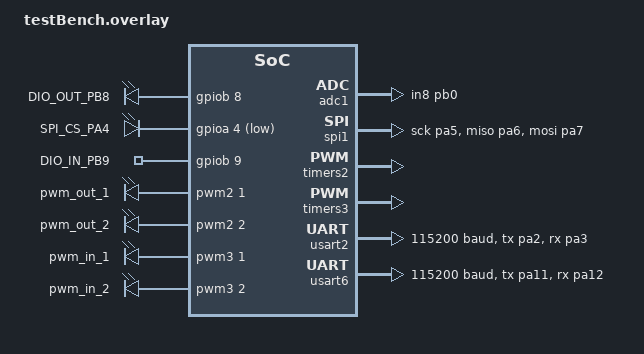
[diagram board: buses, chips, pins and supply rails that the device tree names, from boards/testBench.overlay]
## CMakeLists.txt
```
cmake_minimum_required(VERSION 3.20.0)

find_package(Zephyr REQUIRED HINTS $ENV{ZEPHYR_BASE})

project(TestBench)

target_include_directories(app PRIVATE include)

target_sources(app PRIVATE
    src/main.c
    src/testbench_dio.c
    src/testbench_adc.c
    src/testbench_spi.c
    src/testbench_pwmOUT.c
    src/testbench_pwmIN.c
    src/testbench_uart.c
)
```

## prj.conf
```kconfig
CONFIG_GPIO=y
CONFIG_ADC=y
CONFIG_SPI=y
CONFIG_PWM=y

# (Optional) Change the shell prompt from "uart:~$" to something custom
CONFIG_SHELL_PROMPT_UART="blackpill:~$ "

# Configure PWM Capture for Pwm IN
CONFIG_PWM_CAPTURE=y
CONFIG_REQUIRES_FLOAT_PRINTF=y

CONFIG_SHELL=y
CONFIG_SHELL_BACKEND_SERIAL=y
CONFIG_SERIAL=y
CONFIG_UART_CONSOLE=y
CONFIG_UART_INTERRUPT_DRIVEN=y
CONFIG_RING_BUFFER=y

CONFIG_LOG=y
CONFIG_PRINTK=y
```

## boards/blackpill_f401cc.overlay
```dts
#include <zephyr/dt-bindings/gpio/gpio.h>  /* Include GPIO flag definitions */

/ {                                         /* Start the root devicetree node */

    aliases {                              /* Start the aliases section */
        dio-out = &dio_out_pin;            /* Create alias dio-out that points to PB0 output node */
        dio-in = &dio_in_pin;              /* Create alias dio-in that points to PB1 input node */
    };                                     /* End the aliases section */

    dio_outputs {                          /* Create a container node for output GPIO pins */
        compatible = "gpio-leds";          /* Use Zephyr gpio-leds binding for GPIO output-like nodes */

        dio_out_pin: dio_out_pin {         /* Create the DIO output node label */
            gpios = <&gpiob 0 GPIO_ACTIVE_HIGH>; /* Select PB0 as active-high GPIO output */
            label = "DIO_OUT_PB0";         /* Add a readable name for the output pin */
        };                                 /* End the DIO output node */
    };                                     /* End the output GPIO container */

    dio_inputs {                           /* Create a container node for input GPIO pins */
        compatible = "gpio-keys";          /* Use Zephyr gpio-keys binding for GPIO input-like nodes */

        dio_in_pin: dio_in_pin {           /* Create the DIO input node label */
            gpios = <&gpiob 1 (GPIO_ACTIVE_HIGH | GPIO_PULL_DOWN)>; /* Select PB1 as input with pull-down */
            label = "DIO_IN_PB1";          /* Add a readable name for the input pin */
        };                                 /* End the DIO input node */
    };                                     /* End the input GPIO container */
};                                         /* End the root devicetree node */


&adc1 {                         /* Select ADC1 peripheral node */
    status = "okay";            /* Enable ADC1 peripheral */
};
```

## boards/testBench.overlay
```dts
#include <zephyr/dt-bindings/gpio/gpio.h>

/ {
aliases {
dio-out = &dio_out_pin;
dio-in = &dio_in_pin;
spi-cs = &spi_cs_pin;
};


dio_outputs {
    compatible = "gpio-leds";

    dio_out_pin: dio_out_pin {
        gpios = <&gpiob 8 GPIO_ACTIVE_HIGH>;
        label = "DIO_OUT_PB8";
    };

    spi_cs_pin: spi_cs_pin {
        gpios = <&gpioa 4 GPIO_ACTIVE_LOW>;
        label = "SPI_CS_PA4";
    };
};

dio_inputs {
    compatible = "gpio-keys";

    dio_in_pin: dio_in_pin {
        gpios = <&gpiob 9 (GPIO_ACTIVE_HIGH | GPIO_PULL_DOWN)>;
        label = "DIO_IN_PB9";
    };
};


};

&adc1 {
status = "okay";
pinctrl-0 = <&adc1_in8_pb0>;
pinctrl-names = "default";
};

&spi1 {
status = "okay";
pinctrl-0 = <&spi1_sck_pa5 &spi1_miso_pa6 &spi1_mosi_pa7>;
pinctrl-names = "default";
};
/*
 * This is the Overlay file used in Test Bench Project
 *
 * Authors:   Mustafa Mahgoub (mustafamahgoub.2025@gmail.com)
 *            Ayman Ali
*/

/*
 * ==========================================
 * HARDWARE CONFIGURATION
 * ==========================================
 */

/*
 * ==========================================
 * PWM Configuration
 * ==========================================
 */

/*
 * For PWM Out, the Test Bench supports PA0 (Channel 1) and PA1 (Channel 2).
 * Both of these pins are driven by Hardware Timer 2.
 */

&timers2 {
	status = "okay";

	pwm2: pwm {
		status = "okay";
		pinctrl-0 = <&tim2_ch1_pa0 &tim2_ch2_pa1>;
		pinctrl-names = "default";
	};
};


/*
 * For PWM In, the Test Bench supports PB4 (Channel 1) and PB5 (Channel 2).
 * Both of these pins are driven by Hardware Timer 3.
 */


&timers3 {
	status = "okay";
	st,prescaler = <83>; // (Divides 84MHz by 84 = 1MHz clock)

	pwm3: pwm {
		status = "okay";
		pinctrl-0 = <&tim3_ch1_pb4 &tim3_ch2_pb5>;
		pinctrl-names = "default";
	};
};


/*
 * ==========================================
 * UART Configuration
 * ==========================================
 */


/*
 * For UART, The Test Bench provides Uart Features features on
 * 2 UART Channels -> UART_CH1 (UART2 PA2(Tx) PA3(Rx)) and (UART_CH2 UART6 PA11(Tx) PA12(Rx))
 */
&usart2 {
	pinctrl-0 = <&usart2_tx_pa2 &usart2_rx_pa3>;
	pinctrl-names = "default";
	status = "okay";
	current-speed = <115200>;
};
&usart6 {
	pinctrl-0 = <&usart6_tx_pa11 &usart6_rx_pa12>;
	pinctrl-names = "default";
	status = "okay";
	current-speed = <115200>;
};


/*
 * ==========================================
 * SOFTWARE BINDINGS
 * ==========================================
 */

/ {
	/*
	 * Define custom nodes for the Test Bench.
	 * This links the physical hardware (pwm2) to a logical test channel.
	 */
	test_bench_pwms {
		compatible = "pwm-leds";

		pwm_out_1: pwm_out_1 {
			/* <&hardware_node   channel   default_period   flags> */
			pwms = <&pwm2 1 0 PWM_POLARITY_NORMAL>;
		};

		pwm_out_2: pwm_out_2 {
			pwms = <&pwm2 2 0 PWM_POLARITY_NORMAL>;
		};

		pwm_in_1: pwm_in_1 {
            /* Use pwm3, Channel 1 */
            pwms = <&pwm3 1 0 PWM_POLARITY_NORMAL>;
        };

		pwm_in_2: pwm_in_2 {
            /* Use pwm3, Channel 1 */
            pwms = <&pwm3 2 0 PWM_POLARITY_NORMAL>;
        };
	};

	/*
	 * Create aliases so the C code can easily find these nodes
	 * using DT_ALIAS(pwmout1)
	 */
	aliases {
		pwmout1 = &pwm_out_1;
		pwmout2 = &pwm_out_2;
		pwmin1 = &pwm_in_1;
		pwmin2 = &pwm_in_2;
		uart-ch1 = &usart2;
		uart-ch2 = &usart6;
	};
};
```

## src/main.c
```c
#include <zephyr/kernel.h>              /* Include Zephyr kernel APIs */
#include <zephyr/sys/printk.h>          /* Include printk for startup messages */
#include <zephyr/shell/shell.h>         /* Include Zephyr shell APIs */

#include "testbench_dio.h"              /* Include DIO module interface */
#include "testbench_adc.h"              /* Include ADC module interface */
#include "testbench_spi.h"              /* Include SPI module interface */
#include "testbench_uart.h"             /* Include UART module interface */


/**
 * @brief Handle the tb_ping shell command.
 *
 * This command is used to verify UART communication between the host and the board.
 *
 * @param sh Shell instance used to print responses.
 * @param argc Number of command arguments.
 * @param argv Command arguments.
 *
 * @return 0 on success.
 */
static int cmd_tb_ping(const struct shell *sh, size_t argc, char **argv)
{
    ARG_UNUSED(argc);                   /* Mark argc as unused to avoid compiler warning */
    ARG_UNUSED(argv);                   /* Mark argv as unused to avoid compiler warning */

    shell_print(sh, "PONG");           /* Print PONG as the shell response */

    return 0;                           /* Return success */
}


/* Register tb_ping shell command */
SHELL_CMD_REGISTER(tb_ping, NULL, "Test Bench ping command", cmd_tb_ping);


/**
 * @brief Main application entry point.
 *
 * This function initializes all enabled Test Bench modules.
 *
 * @return 0 on success, negative error code on failure.
 */
int main(void)
{

    testBench_uart_Init();

    int ret = testBench_dio_Init();     /* Initialize DIO module */

    if (ret < 0) {                      /* Check if DIO initialization failed */
        printk("DIO initialization failed: %d\n", ret); /* Print DIO initialization error */
        return ret;                     /* Stop application with error code */
    }

    ret = testBench_adc_Init();         /* Initialize ADC module */

    if (ret < 0) {                      /* Check if ADC initialization failed */
        printk("ADC initialization failed: %d\n", ret); /* Print ADC initialization error */
        return ret;                     /* Stop application with error code */
    }

    ret = testBench_spi_Init();

    if (ret < 0) {
        printk("SPI initialization failed: %d\n", ret);
        return ret;
    }

    printk("Test Bench Firmware Started\n"); /* Print firmware startup message */

    return 0;                           /* Return success */
}
```

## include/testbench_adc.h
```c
#ifndef TESTBENCH_ADC_H
#define TESTBENCH_ADC_H

int testBench_adc_Init(void);

#endif
```

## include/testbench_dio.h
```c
#ifndef TESTBENCH_DIO_H
#define TESTBENCH_DIO_H

int testBench_dio_Init(void);

#endif
```

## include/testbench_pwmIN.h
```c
#ifndef TEST_BENCH_PWM_IN_HEADER
#define TEST_BENCH_PWM_IN_HEADER

#include <zephyr/kernel.h>
#include <zephyr/shell/shell.h>

/* 
 * The Test Bench provides pwm input features on PB4 and PB5 (timer3 Ch1,Ch2)
 * 
 * 
 * This Driver provide the following APIs
 * pwm_in get_dutyCycle channel_number
 * Describtion 
 *  this Command calculate PWM duty Cycle for the Channel_num 
 * Example
 *  pwm_in get_dutyCycle 1       (gets channel 1 dutyCycle Value)
 * 
 * pwm_in get_frequency channel_number  
 * Description
 *  this Command calculate PWM Frequency for the Channel_num
 * Example
 *  pwm_in get_frequency 1 (gets channel 1 dutyCycle Value)
 * 
 * pwm_in read channel_number
 * Description
 *  this Command read both the frequency and dutyCycle for Channel_number
 * 
*/

// argv[1] is channel
int cmd_pwm_in_get_dutyCycle(const struct shell *sh, size_t argc, char **argv);

// argv[1] is channel
int cmd_pwm_in_get_frequency(const struct shell *sh, size_t argc, char** argv);

// argv[1] is channel
int cmd_pwm_in_read(const struct shell *sh, size_t argc, char** argv);


#endif
```

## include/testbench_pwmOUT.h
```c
#ifndef TEST_BENCH_PWM_OUT_HEADER
#define TEST_BENCH_PWM_OUT_HEADER

#include <zephyr/kernel.h>
#include <zephyr/shell/shell.h>
/* 
 * The Test Bench provides pwm output features on PA0 and PA1 (timer2 Ch1,Ch2)
 * 
 * 
 * This Driver provide the following APIs
 * pwm_out set channel_number dutyCycle%
 * Describtion 
 *  this Command generate PWM signal for the Channel_num of dutyCycle% with default frequency 1000 Hz
 * Example
 *  pwm set 1 50       (Sets channel 1 to 50% duty at default freq)
 * 
 * pwm_out freq channel_number frequency_Value dutyCycle% 
 * Description
 *  this Command generate PWM Signal for the Channel_num of dutyCycle% and frequency of frequency_Value
 * Example
 *  pwm freq 1 1000 25 (Sets channel 1 to 1kHz at 25% duty)
 * 
 * pwm_out stop channel_number
 * Description
 *  this Command stop the PWM Signal for the Channel_number (dutyCycle = 0)
 * 
*/

// argv[1] is channel, argv[2] is duty cycle
int cmd_pwm_out_set(const struct shell *sh, size_t argc, char **argv);

// argv[1] is channel, argv[2] is frequency, argv[3] is duty cycle
int cmd_pwm_out_freq(const struct shell *sh, size_t argc, char** argv);

// argv[1] is channel
int cmd_pwm_stop(const struct shell *sh, size_t argc, char** argv);


#endif
```

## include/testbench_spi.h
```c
#ifndef TESTBENCH_SPI_H
#define TESTBENCH_SPI_H

/**
 * @brief Initialize SPI module.
 *
 * This function checks if SPI1 is ready.
 *
 * Hardware pins:
 * - PA5 -> SPI1_SCK
 * - PA6 -> SPI1_MISO
 * - PA7 -> SPI1_MOSI
 *
 * Loopback connection:
 * - PA7 / MOSI ---- PA6 / MISO
 *
 * @return 0 on success, negative error code on failure.
 */
int testBench_spi_Init(void);

#endif
```

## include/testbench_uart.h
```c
#ifndef TEST_BENCH_UART_HEADER
#define TEST_BENCH_UART_HEADER

#include <zephyr/kernel.h>
#include <zephyr/shell/shell.h>
/* 
 * The Test Bench provides Uart Features features on 2 UART Channels -> UART2 PA2(Tx) PA3(Rx) and UART6 PA11(Tx) PA12(Rx)
 * 
 * 
 * This Driver provide the following APIs
 * uart read <channel>
 * Describtion 
 *  This Command Reads whatever the ECU has replied with since the last time you checked.
 * Example
 *  uart read 1 -> Returns: "ENGINE_RUNNING_OK"
 * 
 * uart send <channel> <message>  
 * Description
 *  This Command Transmits a string over the TX pin to the ECU.
 * Example
 *  uart send 1 "START_ENGINE"
 * 
 * uart clear <channel>
 * Description
 *  This Command Flushes the receive buffer to clear out any old/garbage data left in the buffer from previous tests. 
 * Example
 *  uart clear 1
 * 
 * uart set_baud <channel> <baudrate>
 * Description
 *  This Command Changes the speed of the UART connection dynamically. This allows your Test Bench to talk to a 9600 baud sensor
 *  and a 115200 baud ECU without needing to recompile the firmware!
 * Example
 *  uart set_baud 1 9600
 * 
*/


// argv[1] is uart channel , argv[2] is the string to be sent.
int cmd_uart_send(const struct shell *sh, size_t argc, char **argv);

// argv[1] is uart channel to read from.
int cmd_uart_read(const struct shell *sh, size_t argc, char **argv);

// argv[1] is uart channel to clear its buffer
int cmd_uart_clear(const struct shell *sh, size_t argc, char **argv);

// argv[1] is uart channel, argv[2] is BaudRate Number
int cmd_uart_set_baud(const struct shell *sh, size_t argc, char **argv);

int testBench_uart_Init();

#endif
```

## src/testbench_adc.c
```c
#include <zephyr/kernel.h>              /* Include Zephyr kernel APIs */
#include <zephyr/device.h>              /* Include Zephyr device model APIs */
#include <zephyr/drivers/adc.h>         /* Include Zephyr ADC driver APIs */
#include <zephyr/shell/shell.h>         /* Include Zephyr shell APIs */
#include <zephyr/sys/util.h>            /* Include BIT macro */
#include <errno.h>                      /* Include standard error codes */

#include "testbench_adc.h"              /* Include ADC module interface */


/* Get ADC1 node from devicetree */
#define ADC_NODE DT_NODELABEL(adc1)

/* Select ADC channel 8, mapped to PB0 / ADC1_IN8 */
#define ADC_CHANNEL_ID 8

/* Use 12-bit ADC resolution */
#define ADC_RESOLUTION 12

/* Use 3300 mV as the ADC reference voltage */
#define ADC_VREF_MV 3300


/* Get ADC device from devicetree */
static const struct device *adc_dev = DEVICE_DT_GET(ADC_NODE);


/* Create ADC channel configuration */
static const struct adc_channel_cfg adc_channel_cfg = {
    .gain = ADC_GAIN_1,                 /* Use gain 1, so input voltage is not scaled */
    .reference = ADC_REF_INTERNAL,      /* Use internal ADC reference configuration */
    .acquisition_time = ADC_ACQ_TIME_DEFAULT, /* Use default acquisition time */
    .channel_id = ADC_CHANNEL_ID,       /* Select ADC channel */
    .differential = 0                   /* Use single-ended mode */
};


/**
 * @brief Initialize ADC module.
 *
 * This function checks if ADC1 is ready and configures the selected ADC channel.
 *
 * Current hardware connection:
 * - Potentiometer side pin   -> 3V3
 * - Potentiometer middle pin -> PB0 / ADC1_IN8
 * - Potentiometer side pin   -> GND
 *
 * @return 0 on success, negative error code on failure.
 */
int testBench_adc_Init(void)
{
    if (!device_is_ready(adc_dev)) {    /* Check if ADC device is ready */
        return -ENODEV;                 /* Return error if ADC device is not ready */
    }

    int ret = adc_channel_setup(adc_dev, &adc_channel_cfg); /* Configure ADC channel */

    if (ret < 0) {                      /* Check if ADC channel setup failed */
        return ret;                     /* Return ADC driver error */
    }

    return 0;                           /* Return success */
}


/**
 * @brief Handle tb_adc_read shell command.
 *
 * Command format:
 * tb_adc_read
 *
 * Response format:
 * ADC_READ RAW <raw_value> MV <millivolts>
 *
 * @param sh Shell instance used to print responses.
 * @param argc Number of command arguments.
 * @param argv Command arguments.
 *
 * @return 0 on success, negative error code on failure.
 */
static int cmd_tb_adc_read(const struct shell *sh, size_t argc, char **argv)
{
    ARG_UNUSED(argc);                   /* Mark argc as unused to avoid compiler warning */
    ARG_UNUSED(argv);                   /* Mark argv as unused to avoid compiler warning */

    int16_t sample = 0;                 /* Create variable to store raw ADC sample */

    struct adc_sequence sequence = {    /* Create ADC read sequence */
        .channels = BIT(ADC_CHANNEL_ID), /* Select ADC channel */
        .buffer = &sample,              /* Store ADC result in sample variable */
        .buffer_size = sizeof(sample),  /* Set ADC buffer size */
        .resolution = ADC_RESOLUTION    /* Set ADC resolution */
    };

    int ret = adc_read(adc_dev, &sequence); /* Read one ADC sample */

    if (ret < 0) {                      /* Check if ADC read failed */
        shell_error(sh, "ADC_READ ERROR %d", ret); /* Print ADC read error */
        return ret;                     /* Return ADC driver error */
    }

    int32_t raw = sample;               /* Convert ADC sample to 32-bit integer */

    int32_t millivolts = (raw * ADC_VREF_MV) / ((1 << ADC_RESOLUTION) - 1); /* Convert raw value to millivolts */

    shell_print(sh, "ADC_READ RAW %d MV %d", raw, millivolts); /* Print ADC result */

    return 0;                           /* Return success */
}


/* Register ADC shell command */
SHELL_CMD_REGISTER(tb_adc_read, NULL, "Read ADC potentiometer value", cmd_tb_adc_read);
```

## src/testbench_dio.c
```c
#include <zephyr/kernel.h>              /* Include Zephyr kernel APIs such as k_sleep */
#include <zephyr/device.h>              /* Include Zephyr device model APIs */
#include <zephyr/drivers/gpio.h>        /* Include Zephyr GPIO driver APIs */
#include <zephyr/shell/shell.h>         /* Include Zephyr shell APIs */
#include <errno.h>                      /* Include standard error codes */
#include <stdlib.h>                     /* Include strtol for string to number conversion */

#include "testbench_dio.h"              /* Include DIO module interface */


/* Get the devicetree alias for the DIO output pin */
#define DIO_OUT_NODE DT_ALIAS(dio_out)

/* Get the devicetree alias for the DIO input pin */
#define DIO_IN_NODE  DT_ALIAS(dio_in)


/* Create GPIO specification for the DIO output pin */
static const struct gpio_dt_spec dio_out = GPIO_DT_SPEC_GET(DIO_OUT_NODE, gpios);

/* Create GPIO specification for the DIO input pin */
static const struct gpio_dt_spec dio_in = GPIO_DT_SPEC_GET(DIO_IN_NODE, gpios);


/**
 * @brief Initialize DIO pins.
 *
 * This function configures:
 * - DIO output pin as output and starts it LOW
 * - DIO input pin as input
 *
 * Expected hardware connection:
 * DIO output pin ---- DIO input pin
 *
 * @return 0 on success, negative error code on failure.
 */
int testBench_dio_Init(void)
{
    if (!gpio_is_ready_dt(&dio_out)) {  /* Check if output GPIO port is ready */
        return -ENODEV;                 /* Return error if output GPIO port is not ready */
    }

    if (!gpio_is_ready_dt(&dio_in)) {   /* Check if input GPIO port is ready */
        return -ENODEV;                 /* Return error if input GPIO port is not ready */
    }

    int ret = gpio_pin_configure_dt(&dio_out, GPIO_OUTPUT_INACTIVE); /* Configure output pin and set it LOW */

    if (ret < 0) {                      /* Check if output configuration failed */
        return ret;                     /* Return GPIO driver error */
    }

    ret = gpio_pin_configure_dt(&dio_in, GPIO_INPUT); /* Configure input pin */

    if (ret < 0) {                      /* Check if input configuration failed */
        return ret;                     /* Return GPIO driver error */
    }

    return 0;                           /* Return success */
}


/**
 * @brief Handle tb_dio_write shell command.
 *
 * Command format:
 * tb_dio_write <0|1>
 *
 * @param sh Shell instance used to print responses.
 * @param argc Number of command arguments.
 * @param argv Command arguments.
 *
 * @return 0 on success, negative error code on failure.
 */
static int cmd_tb_dio_write(const struct shell *sh, size_t argc, char **argv)
{
    if (argc != 2) {                    /* Check that exactly one argument is provided */
        shell_error(sh, "Usage: tb_dio_write <0|1>"); /* Print command usage */
        return -EINVAL;                 /* Return invalid argument error */
    }

    long value = strtol(argv[1], NULL, 10); /* Convert input argument from string to number */

    if ((value != 0) && (value != 1)) { /* Check that value is only 0 or 1 */
        shell_error(sh, "Error: value must be 0 or 1"); /* Print invalid value error */
        return -EINVAL;                 /* Return invalid argument error */
    }

    int ret = gpio_pin_set_dt(&dio_out, (int)value); /* Set DIO output pin */

    if (ret < 0) {                      /* Check if GPIO write failed */
        shell_error(sh, "Error: failed to write DIO output"); /* Print write error */
        return ret;                     /* Return GPIO driver error */
    }

    shell_print(sh, "DIO_WRITE OK VALUE %ld", value); /* Print successful write response */

    return 0;                           /* Return success */
}


/**
 * @brief Handle tb_dio_read shell command.
 *
 * Command format:
 * tb_dio_read
 *
 * @param sh Shell instance used to print responses.
 * @param argc Number of command arguments.
 * @param argv Command arguments.
 *
 * @return 0 on success, negative error code on failure.
 */
static int cmd_tb_dio_read(const struct shell *sh, size_t argc, char **argv)
{
    ARG_UNUSED(argc);                   /* Mark argc as unused to avoid compiler warning */
    ARG_UNUSED(argv);                   /* Mark argv as unused to avoid compiler warning */

    int value = gpio_pin_get_dt(&dio_in); /* Read DIO input pin */

    if (value < 0) {                    /* Check if GPIO read failed */
        shell_error(sh, "Error: failed to read DIO input"); /* Print read error */
        return value;                   /* Return GPIO driver error */
    }

    shell_print(sh, "DIO_READ VALUE %d", value); /* Print input pin value */

    return 0;                           /* Return success */
}


/**
 * @brief Initialize DIO pins.
 *
 * This function configures:
 * - PB8 as DIO output and starts it LOW
 * - PB9 as DIO input
 *
 * Expected hardware connection:
 * PB8 ---- PB9
 *
 * @return 0 on success, negative error code on failure.
 */
static int cmd_tb_dio_test(const struct shell *sh, size_t argc, char **argv)
{
    ARG_UNUSED(argc);                   /* Mark argc as unused to avoid compiler warning */
    ARG_UNUSED(argv);                   /* Mark argv as unused to avoid compiler warning */

    int ret = gpio_pin_set_dt(&dio_out, 1); /* Set DIO output HIGH */

    if (ret < 0) {                      /* Check if setting output HIGH failed */
        shell_error(sh, "Error: failed to set output HIGH"); /* Print HIGH write error */
        return ret;                     /* Return GPIO driver error */
    }

    k_sleep(K_MSEC(10));                /* Wait for input signal to stabilize */

    int high_value = gpio_pin_get_dt(&dio_in); /* Read input after setting output HIGH */

    if (high_value < 0) {               /* Check if HIGH read failed */
        shell_error(sh, "Error: failed to read input after HIGH"); /* Print HIGH read error */
        return high_value;              /* Return GPIO driver error */
    }

    ret = gpio_pin_set_dt(&dio_out, 0); /* Set DIO output LOW */

    if (ret < 0) {                      /* Check if setting output LOW failed */
        shell_error(sh, "Error: failed to set output LOW"); /* Print LOW write error */
        return ret;                     /* Return GPIO driver error */
    }

    k_sleep(K_MSEC(10));                /* Wait for input signal to stabilize */

    int low_value = gpio_pin_get_dt(&dio_in); /* Read input after setting output LOW */

    if (low_value < 0) {                /* Check if LOW read failed */
        shell_error(sh, "Error: failed to read input after LOW"); /* Print LOW read error */
        return low_value;               /* Return GPIO driver error */
    }

    if ((high_value == 1) && (low_value == 0)) { /* Check if loopback result is correct */
        shell_print(sh, "DIO_TEST PASS HIGH %d LOW %d", high_value, low_value); /* Print PASS result */
        return 0;                       /* Return success */
    }

    shell_error(sh, "DIO_TEST FAIL HIGH %d LOW %d", high_value, low_value); /* Print FAIL result */

    return -EIO;                        /* Return input/output error */
}


/* Register DIO shell commands */
SHELL_CMD_REGISTER(tb_dio_write, NULL, "Write DIO output pin", cmd_tb_dio_write);
SHELL_CMD_REGISTER(tb_dio_read, NULL, "Read DIO input pin", cmd_tb_dio_read);
SHELL_CMD_REGISTER(tb_dio_test, NULL, "Run DIO loopback test", cmd_tb_dio_test);
```

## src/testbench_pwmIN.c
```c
#include <zephyr/shell/shell.h>
#include "testbench_pwmIN.h"
#include <zephyr/drivers/pwm.h>
#include <zephyr/kernel.h>
#include <stdlib.h>
#include <stdint.h>

#define PWM_CHANNEL1 1
#define PWM_CHANNEL2 2

#define SUCCESS 0
#define INVALID_CHANNEL 1
#define DEVICE_NOT_READY 2
#define ERROR_CAPTURING 3
#define ERROR_BUSY 4

static const struct pwm_dt_spec pwm_ch1 = PWM_DT_SPEC_GET(DT_ALIAS(pwmin1));
static const struct pwm_dt_spec pwm_ch2 = PWM_DT_SPEC_GET(DT_ALIAS(pwmin2));

/*
 * The Test Bench provides pwm input features on PB4 and PB5 (timer3 Ch1,Ch2)
 *
 *
 * This Driver provide the following APIs
 * pwm_in get_dutyCycle channel_number
 * Describtion
 *  this Command calculate PWM duty Cycle for the Channel_num
 * Example
 *  pwm_in get_dutyCycle 1       (gets channel 1 dutyCycle Value)
 *
 * pwm_in get_frequency channel_number
 * Description
 *  this Command calculate PWM Frequency for the Channel_num
 * Example
 *  pwm_in get_frequency 1 (gets channel 1 dutyCycle Value)
 *
 * pwm_in read channel_number
 * Description
 *  this Command read both the frequency and dutyCycle for Channel_number
 *
 */

int cmd_pwm_in_read(const struct shell *sh, size_t argc, char **argv)
{
    // arguments validation
    uint8_t pwmChannel = (uint8_t)atoi(argv[1]);
    uint64_t period_us;
    uint64_t pulse_us;

    float dutyCycle = 0;
    uint32_t freq = 0;

    int ret;

    switch (pwmChannel)
    {
    case PWM_CHANNEL1:
        if (!device_is_ready(pwm_ch1.dev))
        {
            shell_print(sh, "ERR Device Not Ready\n");
            return -DEVICE_NOT_READY;
        }

        // Calculate DutyCycle and Frequency
        // pwm_capture_usec (const struct device *dev, uint32_t channel, pwm_flags_t flags, uint64_t *period, uint64_t *pulse, k_timeout_t timeout)

        /* Flags Infos

        PWM capture configuration flags

        #define 	PWM_CAPTURE_TYPE_PERIOD   (1U << PWM_CAPTURE_TYPE_SHIFT)
            PWM pin capture captures period.
        #define 	PWM_CAPTURE_TYPE_PULSE   (2U << PWM_CAPTURE_TYPE_SHIFT)
            PWM pin capture captures pulse width.
        #define 	PWM_CAPTURE_TYPE_BOTH
            PWM pin capture captures both period and pulse width.
        #define 	PWM_CAPTURE_MODE_SINGLE   (0U << PWM_CAPTURE_MODE_SHIFT)
            PWM pin capture captures a single period/pulse width.
        #define 	PWM_CAPTURE_MODE_CONTINUOUS   (1U << PWM_CAPTURE_MODE_SHIFT)
            PWM pin capture captures period/pulse width continuously.
*/
        ret = pwm_capture_usec(pwm_ch1.dev, pwm_ch1.channel, (PWM_CAPTURE_TYPE_BOTH | PWM_CAPTURE_MODE_SINGLE),
                               &period_us, &pulse_us, Z_TIMEOUT_MS(500));

        if (ret == -EBUSY)
        {
            shell_print(sh, "ERR Channel Is Busy\n");
            pwm_disable_capture(pwm_ch1.dev, pwm_ch1.channel);
            return -ERROR_BUSY;
        }

        if (ret)
        {
            shell_print(sh, "ERR Capturing Failed (%d)\n", ret);
            return -ERROR_CAPTURING;
        }


        break;
    case PWM_CHANNEL2:
        if (!device_is_ready(pwm_ch2.dev))
        {
            shell_print(sh, "ERR Device Not Ready\n");
            return -DEVICE_NOT_READY;
        }

        ret = pwm_capture_usec(pwm_ch2.dev, pwm_ch2.channel, (PWM_CAPTURE_TYPE_BOTH | PWM_CAPTURE_MODE_SINGLE),
                               &period_us, &pulse_us, Z_TIMEOUT_MS(500));

        if (ret == -EBUSY)
        {
            shell_print(sh, "ERR Channel Is Busy\n");
            pwm_disable_capture(pwm_ch2.dev, pwm_ch2.channel);
            return -ERROR_BUSY;
        }

        if (ret)
        {
            shell_print(sh, "ERR Capturing Failed (%d)\n", ret);
            return -ERROR_CAPTURING;
        }


        break;

    default:
        shell_print(sh, "Invalid PWM Channel\n Available Channels are 1 and 2");
        return -INVALID_CHANNEL;
        break;
    }

    freq = (uint32_t)(1000000 / period_us);
    dutyCycle = (float)(((double)pulse_us / period_us) * 100);

    shell_print(sh, "Freq: %u Hz, Duty: %.2f", freq, dutyCycle);
    return SUCCESS; // Success
}


int cmd_pwm_in_get_frequency(const struct shell *sh, size_t argc, char** argv)
{
    // arguments validation
    uint8_t pwmChannel = (uint8_t)atoi(argv[1]);
    uint64_t period_us;
    uint64_t pulse_us;

    uint32_t freq = 0;

    int ret;

    switch (pwmChannel)
    {
    case PWM_CHANNEL1:
        if (!device_is_ready(pwm_ch1.dev))
        {
            shell_print(sh, "ERR Device Not Ready\n");
            return -DEVICE_NOT_READY;
        }


        // Calculate DutyCycle and Frequency
        // pwm_capture_usec (const struct device *dev, uint32_t channel, pwm_flags_t flags, uint64_t *period, uint64_t *pulse, k_timeout_t timeout)

        /* Flags Infos

        PWM capture configuration flags

        #define 	PWM_CAPTURE_TYPE_PERIOD   (1U << PWM_CAPTURE_TYPE_SHIFT)
            PWM pin capture captures period.
        #define 	PWM_CAPTURE_TYPE_PULSE   (2U << PWM_CAPTURE_TYPE_SHIFT)
            PWM pin capture captures pulse width.
        #define 	PWM_CAPTURE_TYPE_BOTH
            PWM pin capture captures both period and pulse width.
        #define 	PWM_CAPTURE_MODE_SINGLE   (0U << PWM_CAPTURE_MODE_SHIFT)
            PWM pin capture captures a single period/pulse width.
        #define 	PWM_CAPTURE_MODE_CONTINUOUS   (1U << PWM_CAPTURE_MODE_SHIFT)
            PWM pin capture captures period/pulse width continuously.
*/
        ret = pwm_capture_usec(pwm_ch1.dev, pwm_ch1.channel, (PWM_CAPTURE_TYPE_PERIOD | PWM_CAPTURE_MODE_SINGLE),
                               &period_us, &pulse_us, Z_TIMEOUT_MS(500));

        if (ret == -EBUSY)
        {
            shell_print(sh, "ERR Channel Is Busy\n");
            pwm_disable_capture(pwm_ch1.dev, pwm_ch1.channel);
            return -ERROR_BUSY;
        }

        if (ret)
        {
            shell_print(sh, "ERR Capturing Failed (%d)\n", ret);
            return -ERROR_CAPTURING;
        }


        break;
    case PWM_CHANNEL2:
        if (!device_is_ready(pwm_ch2.dev))
        {
            shell_print(sh, "ERR Device Not Ready\n");
            return -DEVICE_NOT_READY;
        }

        ret = pwm_capture_usec(pwm_ch2.dev, pwm_ch2.channel, (PWM_CAPTURE_TYPE_PERIOD | PWM_CAPTURE_MODE_SINGLE),
                               &period_us, &pulse_us, Z_TIMEOUT_MS(500));

        if (ret == -EBUSY)
        {
            shell_print(sh, "ERR Channel Is Busy\n");
            pwm_disable_capture(pwm_ch2.dev, pwm_ch2.channel);
            return -ERROR_BUSY;
        }

        if (ret)
        {
            shell_print(sh, "ERR Capturing Failed (%d)\n", ret);
            return -ERROR_CAPTURING;
        }


        break;

    default:
        shell_print(sh, "Invalid PWM Channel\n Available Channels are 1 and 2");
        return -INVALID_CHANNEL;
        break;
    }

    freq = (uint32_t)(1000000 / period_us);

    shell_print(sh, "Freq: %u Hz", freq);
    return SUCCESS; // Success
}

int cmd_pwm_in_get_dutyCycle(const struct shell *sh, size_t argc, char **argv)
{
    // arguments validation
    uint8_t pwmChannel = (uint8_t)atoi(argv[1]);
    uint64_t period_us;
    uint64_t pulse_us;

    float dutyCycle = 0;

    int ret;

    switch (pwmChannel)
    {
    case PWM_CHANNEL1:
        if (!device_is_ready(pwm_ch1.dev))
        {
            shell_print(sh, "ERR Device Not Ready\n");
            return -DEVICE_NOT_READY;
        }


        // Calculate DutyCycle and Frequency
        // pwm_capture_usec (const struct device *dev, uint32_t channel, pwm_flags_t flags, uint64_t *period, uint64_t *pulse, k_timeout_t timeout)

        /* Flags Infos

        PWM capture configuration flags

        #define 	PWM_CAPTURE_TYPE_PERIOD   (1U << PWM_CAPTURE_TYPE_SHIFT)
            PWM pin capture captures period.
        #define 	PWM_CAPTURE_TYPE_PULSE   (2U << PWM_CAPTURE_TYPE_SHIFT)
            PWM pin capture captures pulse width.
        #define 	PWM_CAPTURE_TYPE_BOTH
            PWM pin capture captures both period and pulse width.
        #define 	PWM_CAPTURE_MODE_SINGLE   (0U << PWM_CAPTURE_MODE_SHIFT)
            PWM pin capture captures a single period/pulse width.
        #define 	PWM_CAPTURE_MODE_CONTINUOUS   (1U << PWM_CAPTURE_MODE_SHIFT)
            PWM pin capture captures period/pulse width continuously.
*/
        ret = pwm_capture_usec(pwm_ch1.dev, pwm_ch1.channel, (PWM_CAPTURE_TYPE_BOTH | PWM_CAPTURE_MODE_SINGLE),
                               &period_us, &pulse_us, Z_TIMEOUT_MS(500));

        if (ret == -EBUSY)
        {
            shell_print(sh, "ERR Channel Is Busy\n");
            pwm_disable_capture(pwm_ch1.dev, pwm_ch1.channel);
            return -ERROR_BUSY;
        }

        if (ret)
        {
            shell_print(sh, "ERR Capturing Failed (%d)\n", ret);
            return -ERROR_CAPTURING;
        }


        break;
    case PWM_CHANNEL2:
        if (!device_is_ready(pwm_ch2.dev))
        {
            shell_print(sh, "ERR Device Not Ready\n");
            return -DEVICE_NOT_READY;
        }

        ret = pwm_capture_usec(pwm_ch2.dev, pwm_ch2.channel, (PWM_CAPTURE_TYPE_BOTH | PWM_CAPTURE_MODE_SINGLE),
                               &period_us, &pulse_us, Z_TIMEOUT_MS(500));

        if (ret == -EBUSY)
        {
            shell_print(sh, "ERR Channel Is Busy\n");
            pwm_disable_capture(pwm_ch2.dev, pwm_ch2.channel);
            return -ERROR_BUSY;
        }

        if (ret)
        {
            shell_print(sh, "ERR Capturing Failed (%d)\n", ret);
            return -ERROR_CAPTURING;
        }


        break;

    default:
        shell_print(sh, "Invalid PWM Channel\n Available Channels are 1 and 2");
        return -INVALID_CHANNEL;
        break;
    }

    dutyCycle = (float)(((double)pulse_us / period_us) * 100);

    shell_print(sh, "Duty: %.2f", dutyCycle);
    return SUCCESS; // Success
}

/*
 * Create The Subcommands
 *
 *
 */

SHELL_STATIC_SUBCMD_SET_CREATE(
    pwm_in_subcmds,
    SHELL_CMD_ARG(read, NULL, "this Command read both the frequency and dutyCycle for Channel_number",
              cmd_pwm_in_read, 2, 0),

    SHELL_CMD_ARG(get_dutyCycle, NULL, "this Command calculate PWM duty Cycle for the Channel_num",
              cmd_pwm_in_get_dutyCycle, 2, 0),

    SHELL_CMD_ARG(get_frequency, NULL, "this Command calculate PWM Frequency for the Channel_num",
              cmd_pwm_in_get_frequency, 2, 0),
    SHELL_SUBCMD_SET_END
);

SHELL_CMD_REGISTER(pwm_in, &pwm_in_subcmds, "PWM Capture Input Commands", NULL);
```

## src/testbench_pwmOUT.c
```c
#include <zephyr/shell/shell.h>
#include "testbench_pwmOUT.h"
#include <zephyr/drivers/pwm.h>
#include <zephyr/kernel.h>
#include <stdlib.h>
#include <stdint.h>

/*
 * The Test Bench provides pwm output features on PA0 and PA1 (timer2 Ch1,Ch2)
 *
 *
 * This Driver provide the following APIs
 * pwm_out set channel_number dutyCycle%
 * Describtion
 *  this Command generate PWM signal for the Channel_num of dutyCycle% with default frequency 1000 Hz
 * Example
 *  pwm_out set 1 50       (Sets channel 1 to 50% duty at default freq)
 *
 * pwm_out freq channel_number frequency_Value dutyCycle%
 * Description
 *  this Command generate PWM Signal for the Channel_num of dutyCycle% and frequency of frequency_Value
 * Example
 *  pwm_out freq 1 1000 25 (Sets channel 1 to 1kHz at 25% duty)
 *
 * pwm_out stop channel_number
 * Description
 *  this Command stop the PWM Signal for the Channel_number (dutyCycle = 0)
 *
*/


#define MIN_FREQUENCY 1
#define MAX_FREQUENCY 1000000ul
#define DEFAULT_FREQUENCY 1000 // 1000 Hz

#define PWM_CHANNEL1 1
#define PWM_CHANNEL2 2

#define SUCCESS 0
#define INVALID_CHANNEL 1
#define INVALID_DUTYCYCLE 2
#define INVALID_FREQUENCY 3
#define DEVICE_NOT_READY 4




static const struct pwm_dt_spec pwm_ch1 = PWM_DT_SPEC_GET(DT_ALIAS(pwmout1));
static const struct pwm_dt_spec pwm_ch2 = PWM_DT_SPEC_GET(DT_ALIAS(pwmout2));

// Commands implementations
// argv[1] is channel, argv[2] is duty cycle
int cmd_pwm_out_set(const struct shell *sh, size_t argc, char **argv)
{
    // arguments validation
    uint8_t pwmChannel = (uint8_t)atoi(argv[1]);

    char *endptr;
    float dutyCycle = (float)strtof(argv[2], &endptr);
    if (dutyCycle < 0 || dutyCycle > 100)
    {
        shell_print(sh, "Invalid Duty Cycle\n available DutyCycle 0~100");
        return -INVALID_DUTYCYCLE;
    }

    uint32_t period_ns = 1000000000ull / DEFAULT_FREQUENCY;
    uint32_t pulse_ns = (uint32_t)((dutyCycle / 100.0f) * period_ns);

    switch (pwmChannel)
    {
    case PWM_CHANNEL1:
        if (!pwm_is_ready_dt(&pwm_ch1)) {
            shell_print(sh, "ERR Device Not Ready\n");
			return -DEVICE_NOT_READY;
		}

        // pwm_set_dt (const struct pwm_dt_spec *spec, uint32_t period, uint32_t pulse)
        pwm_set_dt(&pwm_ch1,period_ns,pulse_ns);
        break;
    case PWM_CHANNEL2:
        if (!pwm_is_ready_dt(&pwm_ch2)) {
            shell_print(sh, "ERR Device Not Ready\n");
			return -DEVICE_NOT_READY;
		}
        pwm_set_dt(&pwm_ch2,period_ns,pulse_ns);
        break;
    default:
        shell_print(sh, "Invalid PWM Channel\n Available Channels are 1 and 2");
        return -INVALID_CHANNEL;
        break;
    }

    return SUCCESS; // Success
}

// argv[1] is channel, argv[2] is frequency, argv[3] is duty cycle
int cmd_pwm_out_freq(const struct shell *sh, size_t argc, char** argv)
{
    // arguments validation
    uint8_t pwmChannel = (uint8_t)atoi(argv[1]);

    uint32_t freq = (uint32_t)atoi(argv[2]);
    if (freq < MIN_FREQUENCY || freq > MAX_FREQUENCY)
    {
        shell_print(sh, "Invalid Frequency\n available Frequency 1~1MHz");
        return -INVALID_FREQUENCY;
    }

    char *endptr;
    float dutyCycle = (float)strtof(argv[3], &endptr);
    if (dutyCycle < 0 || dutyCycle > 100)
    {
        shell_print(sh, "Invalid Duty Cycle\n available DutyCycle 0~100");
        return -INVALID_DUTYCYCLE;
    }

    uint32_t period_ns = 1000000000ull / freq;
    uint32_t pulse_ns = (uint32_t)((dutyCycle / 100.0f) * period_ns);

    switch (pwmChannel)
    {
    case PWM_CHANNEL1:
        if (!pwm_is_ready_dt(&pwm_ch1)) {
            shell_print(sh, "ERR Device Not Ready\n");
			return -DEVICE_NOT_READY;
		}

        // pwm_set_dt (const struct pwm_dt_spec *spec, uint32_t period, uint32_t pulse)
        pwm_set_dt(&pwm_ch1,period_ns,pulse_ns);
        break;
    case PWM_CHANNEL2:
        if (!pwm_is_ready_dt(&pwm_ch2)) {
            shell_print(sh, "ERR Device Not Ready\n");
			return -DEVICE_NOT_READY;
		}
        pwm_set_dt(&pwm_ch2,period_ns,pulse_ns);
        break;
    default:
        shell_print(sh, "Invalid PWM Channel\n Available Channels are 1 and 2");
        return -INVALID_CHANNEL;
        break;
    }

    return SUCCESS; // Success
}

int cmd_pwm_stop(const struct shell *sh, size_t argc, char** argv)
{
    // arguments validation
    uint8_t pwmChannel = (uint8_t)atoi(argv[1]);
    
    // To stop the PWM, we just set the pulse (duty cycle) to 0. 
    // The period doesn't matter, we'll just use the default.
    uint32_t period_ns = 1000000000ull / DEFAULT_FREQUENCY;
    uint32_t pulse_ns = 0;

    switch (pwmChannel)
    {
    case PWM_CHANNEL1:
        if (!pwm_is_ready_dt(&pwm_ch1)) {
            shell_print(sh, "ERR Device Not Ready\n");
			return -DEVICE_NOT_READY;
		}

        // pwm_set_dt (const struct pwm_dt_spec *spec, uint32_t period, uint32_t pulse)
        pwm_set_dt(&pwm_ch1,period_ns,pulse_ns);
        break;
    case PWM_CHANNEL2:
        if (!pwm_is_ready_dt(&pwm_ch2)) {
            shell_print(sh, "ERR Device Not Ready\n");
			return -DEVICE_NOT_READY;
		}
        pwm_set_dt(&pwm_ch2,period_ns,pulse_ns);
        break;
    default:
        shell_print(sh, "Invalid PWM Channel\n Available Channels are 1 and 2");
        return -INVALID_CHANNEL;
        break;
    }

    return SUCCESS; // Success
}


/*
 * Create The Subcommands
 *
 *
 */

SHELL_STATIC_SUBCMD_SET_CREATE(
    pwm_out_subcmds,
    SHELL_CMD_ARG(set, NULL, "this Command generate PWM signal for the Channel_num of dutyCycle% with default frequency 1000 Hz",
              cmd_pwm_out_set, 3, 0),

    SHELL_CMD_ARG(freq, NULL, "this Command generate PWM Signal for the Channel_num of dutyCycle% and frequency of frequency_Value",
              cmd_pwm_out_freq, 4, 0),

    SHELL_CMD_ARG(stop, NULL, "this Command stop the PWM Signal for the Channel_number (dutyCycle = 0)",
              cmd_pwm_stop, 2, 0),
    SHELL_SUBCMD_SET_END
);

SHELL_CMD_REGISTER(pwm_out, &pwm_out_subcmds, "PWM Output Commands", NULL);
```

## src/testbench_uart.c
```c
#include "testbench_uart.h"
#include <zephyr/drivers/uart.h>
#include <zephyr/kernel.h>
#include <zephyr/shell/shell.h>
#include <zephyr/sys/ring_buffer.h>
#include <stdlib.h>
#include <stdint.h>
#include <string.h>

#define UART_CHANNEL1 1
#define UART_CHANNEL2 2

#define SUCCESS 0
#define INVALID_CHANNEL 1
#define DEVICE_NOT_READY 2

// Get Device using Alias configured in the overlay
static const struct device *const uart_ch1 = DEVICE_DT_GET(DT_ALIAS(uart_ch1));
static const struct device *const uart_ch2 = DEVICE_DT_GET(DT_ALIAS(uart_ch2));

// Declare Ring Buffers 2 for each Channel
#define RING_BUF_SIZE 256

RING_BUF_DECLARE(uart_ch1_rx_ringbuf, RING_BUF_SIZE);
RING_BUF_DECLARE(uart_ch1_tx_ringbuf, RING_BUF_SIZE);

RING_BUF_DECLARE(uart_ch2_rx_ringbuf, RING_BUF_SIZE);
RING_BUF_DECLARE(uart_ch2_tx_ringbuf, RING_BUF_SIZE);

// Define CallBack Function for each Channel ISR
static void uart_ch1_cb(const struct device *dev, void *user_data)
{
    uint8_t c;
    // 1. Always update the IRQ status first
    if (!uart_irq_update(dev))
    {
        return;
    }

    if (uart_irq_rx_ready(dev))
    {
        // static int 	uart_fifo_read (const struct device *dev, uint8_t *rx_data, const int size)
        while (uart_fifo_read(dev, &c, 1) == 1)
        {
            ring_buf_put(&uart_ch1_rx_ringbuf, &c, 1);
        }
    }

    if (uart_irq_tx_ready(dev))
    {
        uint8_t c;
        // The hardware FIFO on STM32 is only 1 byte deep!
        // We must pull exactly 1 byte at a time so we don't lose data.
        if (ring_buf_get(&uart_ch1_tx_ringbuf, &c, 1) > 0)
        {
            // Push 1 byte to the hardware
            uart_fifo_fill(dev, &c, 1);
        }
        else
        {
            // CRITICAL: Nothing left to send, stop the TX interrupts!
            uart_irq_tx_disable(dev);
            // The uart tx Enable will be called inside send cmd
        }
    }
}

static void uart_ch2_cb(const struct device *dev, void *user_data)
{
    uint8_t c;
    // 1. Always update the IRQ status first
    if (!uart_irq_update(dev))
    {
        return;
    }

    if (uart_irq_rx_ready(dev))
    {
        // static int 	uart_fifo_read (const struct device *dev, uint8_t *rx_data, const int size)
        while (uart_fifo_read(dev, &c, 1) == 1)
        {
            ring_buf_put(&uart_ch2_rx_ringbuf, &c, 1);
        }
    }

    if (uart_irq_tx_ready(dev))
    {
        uint8_t c;
        // The hardware FIFO on STM32 is only 1 byte deep!
        // We must pull exactly 1 byte at a time so we don't lose data.
        if (ring_buf_get(&uart_ch2_tx_ringbuf, &c, 1) > 0)
        {
            // Push 1 byte to the hardware
            uart_fifo_fill(dev, &c, 1);
        }
        else
        {
            // CRITICAL: Nothing left to send, stop the TX interrupts!
            uart_irq_tx_disable(dev);
            // The uart tx Enable will be called inside send cmd
        }
    }
}

int testBench_uart_Init()
{
    // Check If the Device is ready
    if (!device_is_ready(uart_ch1))
    {
        return -DEVICE_NOT_READY;
    }

    if (!device_is_ready(uart_ch2))
    {
        return -DEVICE_NOT_READY;
    }

    // Assign The CallBack Functions to the devices
    // uart_irq_callback_user_data_set (const struct device *dev, uart_irq_callback_user_data_t cb, void *user_data)
    uart_irq_callback_user_data_set(uart_ch1, uart_ch1_cb, NULL);
    uart_irq_callback_user_data_set(uart_ch2, uart_ch2_cb, NULL);

    // Enable RX Interrupts
    // uart_irq_rx_enable (const struct device *dev)
    uart_irq_rx_enable(uart_ch1);
    uart_irq_rx_enable(uart_ch2);

    return SUCCESS;
}

/**
 *  Commands Implementations
 */

// argv[1] is uart channel , argv[2] is the string to be sent.
int cmd_uart_send(const struct shell *sh, size_t argc, char **argv)
{
    // arguments validation
    uint8_t uartChannel = (uint8_t)atoi(argv[1]);
    char *str = argv[2];

    switch (uartChannel)
    {
    case UART_CHANNEL1:
        if (!device_is_ready(uart_ch1))
        {
            shell_print(sh, "ERR Device Not Ready\n");
            return -DEVICE_NOT_READY;
        }
        ring_buf_put(&uart_ch1_tx_ringbuf, (uint8_t *)str, strlen(str));

        // Enable Tx Interrupt
        uart_irq_tx_enable(uart_ch1);
        break;

    case UART_CHANNEL2:
        if (!device_is_ready(uart_ch2))
        {
            shell_print(sh, "ERR Device Not Ready\n");
            return -DEVICE_NOT_READY;
        }
        ring_buf_put(&uart_ch2_tx_ringbuf, (uint8_t *)str, strlen(str));

        // Enable Tx Interrupt
        uart_irq_tx_enable(uart_ch2);
        break;

    default:
        shell_print(sh, "Invalid UART Channel. Available are 1 and 2");
        return -INVALID_CHANNEL;
    }
    return SUCCESS;
}

int cmd_uart_read(const struct shell *sh, size_t argc, char **argv)
{
    uint8_t uartChannel = (uint8_t)atoi(argv[1]);
    uint8_t buffer[64];
    int len;

    switch (uartChannel)
    {
    case UART_CHANNEL1:
        while ((len = ring_buf_get(&uart_ch1_rx_ringbuf, buffer, sizeof(buffer) - 1)) > 0)
        {
            buffer[len] = '\0';
            shell_print(sh, "%s", buffer);
        }
        break;

    case UART_CHANNEL2:
        while ((len = ring_buf_get(&uart_ch2_rx_ringbuf, buffer, sizeof(buffer) - 1)) > 0)
        {
            buffer[len] = '\0';
            shell_print(sh, "%s", buffer);
        }
        break;

    default:
        shell_print(sh, "Invalid UART Channel. Available are 1 and 2");
        return -INVALID_CHANNEL;
    }
    return SUCCESS;
}

int cmd_uart_clear(const struct shell *sh, size_t argc, char **argv)
{
    uint8_t uartChannel = (uint8_t)atoi(argv[1]);

    switch (uartChannel)
    {
    case UART_CHANNEL1:
        ring_buf_reset(&uart_ch1_rx_ringbuf);
        shell_print(sh, "UART1 RX Buffer Cleared");
        break;

    case UART_CHANNEL2:
        ring_buf_reset(&uart_ch2_rx_ringbuf);
        shell_print(sh, "UART2 RX Buffer Cleared");
        break;

    default:
        shell_print(sh, "Invalid UART Channel.");
        return -INVALID_CHANNEL;
    }
    return SUCCESS;
}

int cmd_uart_set_baud(const struct shell *sh, size_t argc, char **argv)
{
    uint8_t uartChannel = (uint8_t)atoi(argv[1]);
    uint32_t baudrate = (uint32_t)atoi(argv[2]);
    struct uart_config cfg;
    const struct device *dev;

    switch (uartChannel)
    {
    case UART_CHANNEL1:
        dev = uart_ch1;
        break;
    case UART_CHANNEL2:
        dev = uart_ch2;
        break;
    default:
        return -INVALID_CHANNEL;
    }

    if (uart_config_get(dev, &cfg) == 0)
    {
        cfg.baudrate = baudrate;
        if (uart_configure(dev, &cfg) == 0)
        {
            shell_print(sh, "Baudrate set to %u", baudrate);
            return SUCCESS;
        }
    }

    shell_print(sh, "Failed to set baudrate");
    return -1;
}

/* Shell Subcommands Registration */
SHELL_STATIC_SUBCMD_SET_CREATE(
    uart_subcmds,
    SHELL_CMD_ARG(send, NULL, "Send string over UART", cmd_uart_send, 3, 0),
    SHELL_CMD_ARG(read, NULL, "Read received string from UART buffer", cmd_uart_read, 2, 0),
    SHELL_CMD_ARG(clear, NULL, "Clear the RX buffer", cmd_uart_clear, 2, 0),
    SHELL_CMD_ARG(set_baud, NULL, "Change baudrate", cmd_uart_set_baud, 3, 0),
    SHELL_SUBCMD_SET_END);

SHELL_CMD_REGISTER(uart, &uart_subcmds, "UART Commands", NULL);
```
